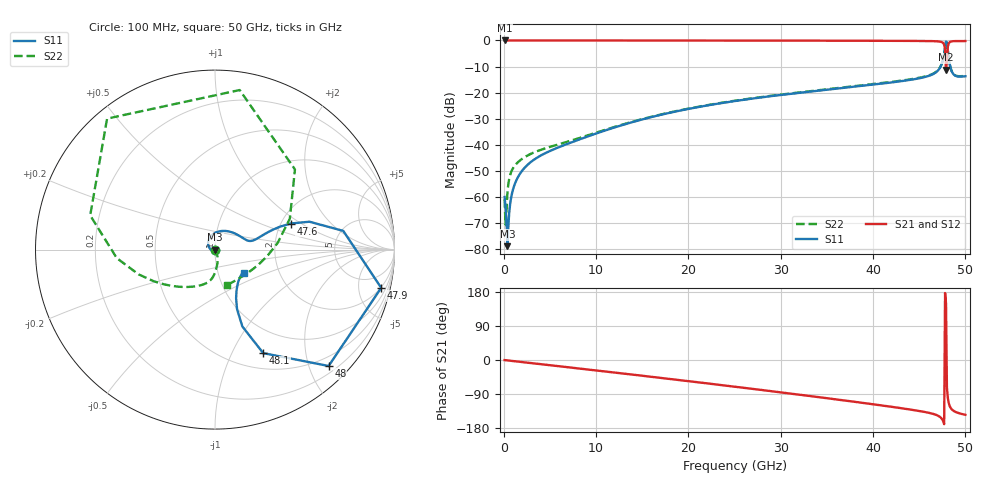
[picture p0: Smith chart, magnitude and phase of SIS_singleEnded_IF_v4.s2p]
! Touchstone file from project
# GHZ S MA R 50.000000
! Modal data exported
! Port[1] = IF_output:1
! Port[2] = RF_input:1
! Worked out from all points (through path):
!   500 points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, 100 MHz to 50 GHz, reference 50 ohm
!   highest |S21| = 0.00 dB at 100 MHz (marker M1); lowest = -11.2 dB at 47.9 GHz (marker M2)
!   lowest |S11| = -79.0 dB at 400 MHz (marker M3), VSWR 1.00, Z = 50 + j0.0104 ohm
!   |S11| at or under -10 dB: start of sweep to 47.32 GHz; 48.36 GHz to end of sweep
!   |S22| runs from -70.7 to -0.5 dB; largest |S21 - S12| = 0
!   S11 on the Smith chart (normalised r, x): 100 MHz: 1.00, -0.00; 47.6 GHz: 2.25, +0.82; 47.9 GHz: 1.91, -8.37; 48 GHz: 0.32, -2.34; 48.1 GHz: 0.69, -1.33; 50 GHz: 1.33, -0.35
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0.1  0.0009903 -8.4  0.9999 -0.3  0.9999 -0.3  0.0008963 -171.3
! Gamma 5.868022E-003 5.433830E+000 0.000000E+000 0.000000E+000
! Port Impedance 5.000000E+001 0.000000E+000 5.000000E+001 0.000000E+000
0.4  0.0001125 112.7  0.9997 -1.1  0.9997 -1.1  0.001162 -6.3
0.6  0.0004969 -139.6  0.9996 -1.7  0.9996 -1.7  0.002215 -10.5
0.9  0.001158 -123.1  0.9995 -2.5  0.9995 -2.5  0.003244 -21.9
1.4  0.002122 -114.7  0.9994 -3.8  0.9994 -3.8  0.004342 -38.8
2.2  0.00349 -111.9  0.9993 -6.0  0.9993 -6.0  0.005649 -57.0
4.3  0.006579 -119.8  0.9992 -11.8  0.9992 -11.8  0.008263 -75.9
8.5  0.01317 -151.4  0.999 -23.3  0.999 -23.3  0.01394 -73.2
16.8  0.03663 157.5  0.998 -46.6  0.998 -46.6  0.03713 -69.6
25.1  0.069 117.6  0.9957 -70.7  0.9957 -70.7  0.06998 -78.1
33.4  0.1053 75.8  0.9919 -95.8  0.9919 -95.8  0.1072 -86.5
41.7  0.1539 30.8  0.9847 -122.5  0.9847 -122.5  0.1575 -95.2
46.4  0.2214 13.6  0.9711 -141.5  0.9711 -141.5  0.2258 -116.0
47.2  0.2905 17.4  0.9526 -149.4  0.9526 -149.4  0.2942 -135.6
47.6  0.4456 19.0  0.8898 -161.7  0.8898 -161.7  0.4475 -162.0
47.7  0.5485 16.5  0.8295 -169.4  0.8295 -169.4  0.5492 -175.0
47.9  0.9502 -13.0  0.2746 149.7  0.2746 149.7  0.9455 129.5
48  0.9062 -45.7  0.3945 -73.5  0.3945 -73.5  0.8996 81.2
48.1  0.6361 -65.0  0.7605 -100.4  0.7605 -100.4  0.6308 45.1
48.3  0.3537 -69.7  0.9292 -121.6  0.9292 -121.6  0.3515 6.2
48.6  0.2394 -58.9  0.9659 -132.0  0.9659 -132.0  0.2402 -25.9
50  0.2054 -38.5  0.9739 -144.7  0.9739 -144.7  0.2099 -71.5
